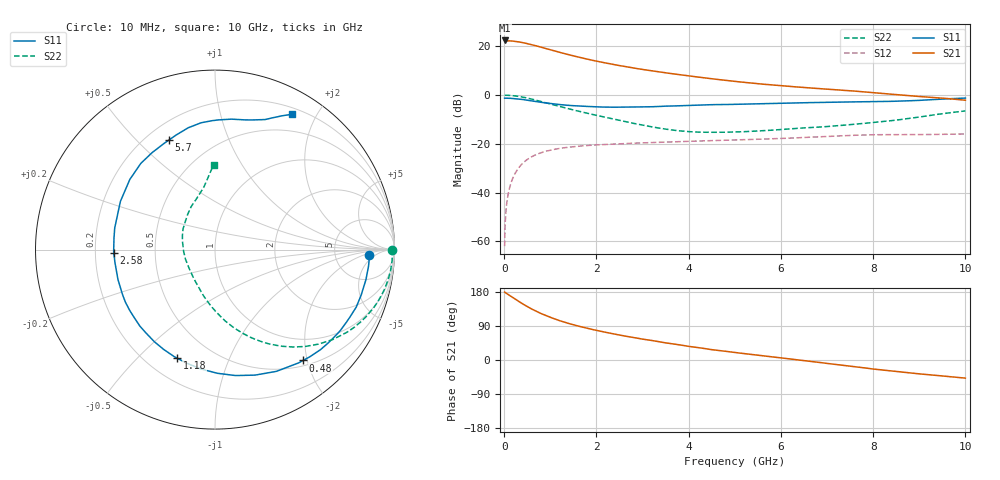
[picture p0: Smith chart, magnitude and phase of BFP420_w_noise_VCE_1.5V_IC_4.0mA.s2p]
! Infineon Technologies  Discrete & RF Semiconductors
! BFP420
! VCE =  1.5 V,  IC =  4.0 mA
! Common Emitter S-Parameters:  Jan 2016
# GHz  S  MA  R  50
!  f  S11  S21  S12  S22
! GHz  MAG  ANG  MAG  ANG  MAG  ANG  MAG  ANG
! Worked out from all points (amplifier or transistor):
!   233 points, 10 MHz to 10 GHz, reference 50 ohm
!   highest |S21| = 22.4 dB at 10 MHz (marker M1)
!   |S21| within 3 dB of that: start of sweep to 845.3 MHz
!   unconditionally stable (mu >= 1): 3.187 GHz to end of sweep
!   at 200 MHz: K = 0.06, MSG = 27.8 dB, |S12| = -33.6 dB
!   at 1.74 GHz: K = 0.55, MSG = 17.9 dB, |S12| = -20.8 dB
!   at 10 GHz: K = 1.14, MAG = 4.7 dB, |S12| = -16.0 dB
!   lowest NFmin = 0.61 dB at 900 MHz
!   S11 on the Smith chart (normalised r, x): 10 MHz: 13, -3; 480 MHz: 0.59, -1.93; 1.18 GHz: 0.32, -0.66; 2.58 GHz: 0.28, -0.02; 5.7 GHz: 0.29, +0.63; 10 GHz: 0.28, +1.68
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0.01  0.8602 -2.0  13.11 179.4  0.0008 120.6  0.9868 0.0
0.02  0.8616 -2.2  12.81 178.6  0.0021 87.4  0.9895 -1.3
0.04  0.8609 -4.4  12.84 176.7  0.0043 85.8  0.9889 -2.7
0.115  0.8555 -12.8  12.86 170.5  0.0123 83.1  0.9827 -7.9
0.2  0.8496 -22.2  12.68 163.6  0.021 78.3  0.9681 -13.6
0.3  0.8311 -33.0  12.32 155.7  0.0307 72.4  0.9413 -20.2
0.48  0.789 -51.5  11.41 142.5  0.0461 63.0  0.8745 -31.0
0.6  0.7598 -63.2  10.73 134.4  0.0546 57.3  0.8238 -37.6
0.8  0.7108 -80.8  9.542 122.6  0.0658 49.4  0.737 -47.1
1  0.6697 -96.7  8.457 112.6  0.0742 43.1  0.6559 -55.2
1.18  0.6404 -109.4  7.591 104.8  0.0799 38.4  0.5911 -61.6
1.4  0.6144 -123.4  6.692 96.4  0.0852 33.7  0.5223 -68.5
1.68  0.5898 -138.8  5.775 87.2  0.0905 29.1  0.45 -76.1
2.06  0.5694 -156.6  4.816 76.7  0.0957 24.2  0.3727 -85.4
2.58  0.564 -178.1  3.885 64.0  0.1011 19.0  0.2905 -98.5
3.4  0.5844 155.9  2.937 47.4  0.1076 13.3  0.2068 -122.4
4.1  0.6171 138.5  2.399 34.4  0.1132 9.4  0.1755 -147.9
5.1  0.6455 121.5  1.859 18.4  0.1208 4.5  0.1759 -179.6
5.7  0.6622 112.8  1.64 9.9  0.1257 2.0  0.1876 164.8
6.8  0.7035 98.7  1.359 -5.9  0.1388 -3.4  0.2196 141.2
8.4  0.742 76.9  1.038 -29.2  0.154 -16.3  0.2986 110.7
10  0.8658 60.5  0.782 -47.8  0.1589 -25.1  0.4721 90.9
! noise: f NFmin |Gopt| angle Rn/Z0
0.9  0.61  0.27  32  0.16
1.8  1.03  0.14  83  0.13
2.4  1.11  0.17  110  0.14
3  1.23  0.2  153  0.11
4  1.42  0.31  -151  0.11
5  1.77  0.38  -123  0.23
6  2.35  0.47  -104  0.33
